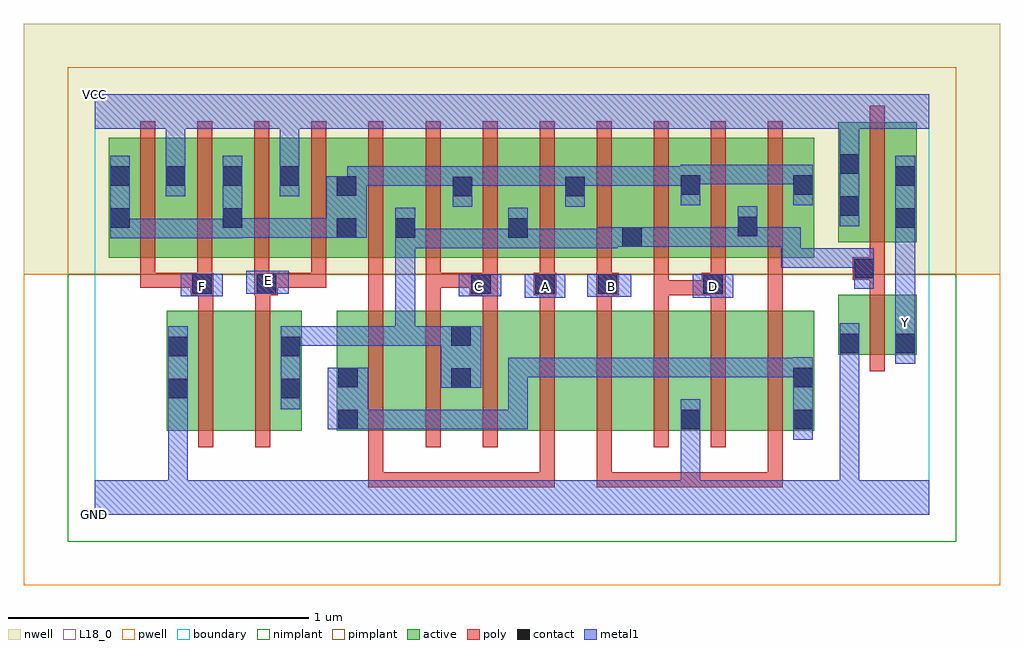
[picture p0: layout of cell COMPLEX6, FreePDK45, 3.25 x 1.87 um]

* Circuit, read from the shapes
.subckt COMPLEX6 A B C D E F GND VCC Y
M1 n1 F GND VSUBS nfet w=0.4u l=0.05u
M2 n2 E n1 VSUBS nfet w=0.4u l=0.05u
M3 n3 A n4 VSUBS nfet w=0.4u l=0.05u
M4 n2 C n3 VSUBS nfet w=0.4u l=0.05u
M5 n5 C n2 VSUBS nfet w=0.4u l=0.05u
M6 n6 A n5 VSUBS nfet w=0.4u l=0.05u
M7 n7 B n6 VSUBS nfet w=0.4u l=0.05u
M8 GND D n7 VSUBS nfet w=0.4u l=0.05u
M9 n8 D GND VSUBS nfet w=0.4u l=0.05u
M10 n4 B n8 VSUBS nfet w=0.4u l=0.05u
M11 Y n2 GND VSUBS nfet w=0.2u l=0.05u
M12 VCC F n9 n10 pfet w=0.4u l=0.05u m=2
M13 VCC E n9 n10 pfet w=0.4u l=0.05u m=2
M14 n2 A n9 n10 pfet w=0.4u l=0.05u m=2
M15 n9 C n2 n10 pfet w=0.4u l=0.05u m=2
M16 n2 B n9 n10 pfet w=0.4u l=0.05u m=2
M17 n9 D n2 n10 pfet w=0.4u l=0.05u m=2
M18 Y n2 VCC n10 pfet w=0.4u l=0.05u
.ends

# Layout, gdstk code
import gdstk
lib = gdstk.Library(unit=1e-6, precision=1e-09)
def R(c, l, rs):  # rectangles x0, y0, x1, y1
    for r in rs: c.add(gdstk.rectangle(r[:2], r[2:], *l))
def A(c, l, x, y, w, h, nx, ny, dx, dy):  # array of equal rectangles
    R(c, l, [(x+i*dx, y+j*dy, x+i*dx+w, y+j*dy+h) for i in range(nx) for j in range(ny)])
active = (1, 0)
pwell = (2, 0)
nwell = (3, 0)
nimplant = (4, 0)
pimplant = (5, 0)
poly = (9, 0)
contact = (10, 0)
metal1 = (11, 0)
L18_0 = (18, 0)
boundary = (235, 0)

complex6 = lib.new_cell('COMPLEX6')
A(complex6, active, 0.232, 0.855, 0.265, 0.4, 3, 1, 0.19, 0)
A(complex6, active, 0.802, 0.855, 0.075, 0.345, 3, 1, 0.76, 0)
R(complex6, active, [(0.24,0.28,0.465,0.68), (0.465,0.28,0.69,0.68), (0.615,0.28,0.69,0.68), (0.807,0.28,0.882,0.68), (0.807,0.28,1.032,0.68), (1.032,0.28,1.257,0.68), (1.182,0.28,1.412,0.68), (1.412,0.28,1.602,0.68), (1.602,0.28,1.792,0.68), (1.792,0.28,2.022,0.68), (1.947,0.28,2.172,0.68), (1.947,0.28,2.022,0.617), (2.172,0.28,2.397,0.68), (2.322,0.28,2.397,0.68), (1.182,0.33,1.257,0.632), (0.24,0.332,0.315,0.68), (2.477,0.532,2.552,0.732), (2.477,0.532,2.737,0.732), (2.662,0.532,2.737,0.732), (0.047,0.855,0.307,1.255), (0.047,0.855,0.122,1.2), (0.232,0.855,0.307,1.255), (0.422,0.855,0.497,1.2), (0.612,0.855,0.687,1.255), (0.802,0.855,1.072,1.255), (0.997,0.855,1.072,1.07), (0.997,0.855,1.262,1.255), (1.187,0.855,1.447,1.255), (1.372,0.855,1.447,1.07), (1.372,0.855,1.637,1.255), (1.562,0.855,1.827,1.255), (1.752,0.855,1.827,1.07), (1.752,0.855,2.022,1.255), (1.947,0.855,2.212,1.255), (2.137,0.855,2.397,1.255), (2.137,0.855,2.212,1.07), (1.187,0.907,1.262,1.2), (1.947,0.907,2.022,1.2), (2.477,0.907,2.552,1.307), (2.477,0.907,2.737,1.307), (2.662,0.907,2.737,1.2)])
R(complex6, pwell, [(-0.235,-0.235,3.015,0.8)])
R(complex6, nwell, [(-0.235,0.8,3.015,1.635)])
R(complex6, nimplant, [(-0.09,-0.09,2.87,0.8)])
R(complex6, pimplant, [(-0.09,0.8,2.87,1.49)])
A(complex6, poly, 0.912, 0.225, 0.05, 0.51, 8, 1, 0.19, 0)
A(complex6, poly, 1.292, 0.685, 0.05, 0.095, 6, 1, 0.19, 0)
A(complex6, poly, 0.152, 0.755, 0.05, 0.095, 4, 1, 0.19, 0)
A(complex6, poly, 1.102, 0.755, 0.05, 0.095, 4, 1, 0.19, 0)
A(complex6, poly, 0.152, 0.8, 0.05, 0.51, 12, 1, 0.19, 0)
R(complex6, poly, [(0.912,0.092,0.962,0.142), (0.912,0.092,0.962,0.142), (0.912,0.092,0.962,0.142), (0.912,0.092,0.962,0.275), (0.912,0.092,1.167,0.142), (1.117,0.092,1.167,0.142), (1.117,0.092,1.167,0.142), (1.117,0.092,1.167,0.142), (1.117,0.092,1.3,0.142), (1.25,0.092,1.3,0.142), (1.25,0.092,1.532,0.142), (1.482,0.092,1.532,0.142), (1.482,0.092,1.532,0.142), (1.482,0.092,1.532,0.142), (1.482,0.092,1.532,0.275), (1.672,0.092,1.722,0.142), (1.672,0.092,1.722,0.142), (1.672,0.092,1.722,0.142), (1.672,0.092,1.722,0.275), (1.672,0.092,1.855,0.142), (1.805,0.092,1.855,0.142), (1.805,0.092,2.045,0.142), (1.995,0.092,2.045,0.142), (1.995,0.092,2.045,0.142), (1.995,0.092,2.045,0.142), (1.995,0.092,2.292,0.142), (2.242,0.092,2.292,0.142), (2.242,0.092,2.292,0.142), (2.242,0.092,2.292,0.142), (2.242,0.092,2.292,0.275), (0.345,0.225,0.395,0.735), (0.535,0.225,0.585,0.735), (2.582,0.477,2.632,0.787), (0.345,0.685,0.395,0.78), (0.535,0.685,0.585,0.78), (0.912,0.685,0.962,0.78), (1.102,0.685,1.152,0.805), (0.32,0.73,0.395,0.805), (0.532,0.73,0.61,0.805), (0.912,0.73,0.962,0.85), (0.912,0.73,0.962,0.78), (1.25,0.73,1.342,0.805), (1.462,0.73,1.537,0.805), (1.67,0.73,1.745,0.805), (1.862,0.73,1.912,0.85), (1.862,0.73,1.912,0.78), (1.862,0.73,2.072,0.78), (2.022,0.73,2.072,0.78), (2.022,0.73,2.072,0.78), (2.022,0.73,2.102,0.805), (2.242,0.73,2.292,0.85), (2.242,0.73,2.292,0.78), (2.582,0.737,2.632,0.832), (0.152,0.755,0.202,0.805), (0.152,0.755,0.202,0.805), (0.152,0.755,0.202,0.805), (0.152,0.755,0.37,0.805), (0.56,0.755,0.772,0.805), (0.722,0.755,0.772,0.805), (0.722,0.755,0.772,0.805), (0.722,0.755,0.772,0.805), (1.102,0.755,1.152,0.805), (1.102,0.755,1.152,0.805), (1.102,0.755,1.152,0.805), (1.102,0.755,1.3,0.805), (2.052,0.755,2.102,0.85), (2.525,0.782,2.632,0.857), (2.582,0.807,2.632,0.902), (2.582,0.852,2.632,1.362)])
A(complex6, contact, 0.237, 1.095, 0.065, 0.065, 3, 1, 0.19, 0)
R(complex6, contact, [(0.812,0.285,0.877,0.35), (1.952,0.285,2.017,0.35), (2.327,0.285,2.392,0.35), (0.245,0.387,0.31,0.452), (0.62,0.387,0.685,0.452), (1.187,0.422,1.252,0.487), (0.812,0.425,0.877,0.49), (2.327,0.425,2.392,0.49), (0.245,0.527,0.31,0.592), (0.62,0.527,0.685,0.592), (2.482,0.537,2.547,0.602), (2.667,0.537,2.732,0.602), (1.187,0.562,1.252,0.627), (0.325,0.735,0.39,0.8), (0.54,0.735,0.605,0.8), (1.255,0.735,1.32,0.8), (1.467,0.735,1.532,0.8), (1.675,0.735,1.74,0.8), (2.027,0.735,2.092,0.8), (2.53,0.787,2.595,0.852), (1.757,0.892,1.822,0.957), (0.807,0.922,0.872,0.987), (1.002,0.922,1.067,0.987), (1.377,0.922,1.442,0.987), (2.142,0.927,2.207,0.992), (0.052,0.955,0.117,1.02), (0.427,0.955,0.492,1.02), (2.667,0.955,2.732,1.02), (2.482,0.995,2.547,1.06), (1.192,1.06,1.257,1.125), (1.567,1.06,1.632,1.125), (0.807,1.062,0.872,1.127), (1.952,1.065,2.017,1.13), (2.327,1.065,2.392,1.13), (0.052,1.095,0.117,1.16), (2.667,1.095,2.732,1.16), (2.482,1.135,2.547,1.2)])
R(complex6, metal1, [(0,0,2.78,0.115), (0.245,0.05,0.31,0.115), (0.245,0.05,0.31,0.115), (0.245,0.05,0.31,0.115), (0.245,0.05,0.31,0.115), (0.245,0.05,0.31,0.417), (1.952,0.05,2.017,0.315), (2.482,0.05,2.547,0.115), (2.482,0.05,2.547,0.115), (2.482,0.05,2.547,0.115), (2.482,0.05,2.547,0.115), (2.482,0.05,2.547,0.115), (2.482,0.05,2.547,0.115), (2.482,0.05,2.547,0.567), (1.952,0.25,2.017,0.315), (1.952,0.25,2.017,0.315), (1.952,0.25,2.017,0.315), (1.952,0.25,2.017,0.315), (1.952,0.25,2.017,0.385), (2.327,0.25,2.392,0.525), (0.777,0.285,0.912,0.49), (0.847,0.285,0.912,0.35), (0.847,0.285,0.912,0.35), (0.847,0.285,1.08,0.35), (1.015,0.285,1.08,0.35), (1.015,0.285,1.08,0.35), (1.015,0.285,1.08,0.35), (1.015,0.285,1.305,0.35), (1.24,0.285,1.305,0.35), (1.24,0.285,1.305,0.35), (1.24,0.285,1.305,0.35), (1.24,0.285,1.442,0.35), (1.377,0.285,1.442,0.35), (1.377,0.285,1.442,0.522), (0.245,0.352,0.31,0.627), (0.62,0.352,0.685,0.627), (1.152,0.422,1.287,0.627), (1.377,0.457,1.442,0.522), (1.377,0.457,1.442,0.522), (1.377,0.457,1.442,0.522), (1.377,0.457,1.65,0.522), (1.585,0.457,1.65,0.522), (1.585,0.457,1.65,0.522), (1.585,0.457,1.65,0.522), (1.585,0.457,1.88,0.522), (1.815,0.457,1.88,0.522), (1.815,0.457,1.88,0.522), (1.815,0.457,1.88,0.522), (1.815,0.457,2.07,0.522), (2.005,0.457,2.07,0.522), (2.005,0.457,2.207,0.522), (2.142,0.457,2.207,0.522), (2.142,0.457,2.207,0.522), (2.142,0.457,2.207,0.522), (2.142,0.457,2.392,0.522), (2.327,0.457,2.392,0.522), (2.327,0.457,2.392,0.522), (2.482,0.502,2.547,0.567), (2.482,0.502,2.547,0.567), (2.482,0.502,2.547,0.637), (2.667,0.502,2.732,0.637), (0.62,0.562,0.685,0.627), (0.62,0.562,0.685,0.627), (0.62,0.562,0.822,0.627), (0.757,0.562,0.822,0.627), (0.757,0.562,0.822,0.627), (0.757,0.562,0.822,0.627), (0.757,0.562,1.067,0.627), (1.002,0.562,1.067,0.627), (1.002,0.562,1.067,0.627), (1.002,0.562,1.067,0.627), (1.002,0.562,1.067,0.627), (1.002,0.562,1.067,0.627), (1.002,0.562,1.217,0.627), (1.002,0.562,1.067,0.952), (2.667,0.572,2.732,0.637), (2.667,0.572,2.732,0.707), (2.667,0.642,2.732,0.985), (1.432,0.722,1.567,0.8), (1.992,0.722,2.127,0.8), (1.64,0.725,1.787,0.8), (0.287,0.727,0.427,0.802), (1.212,0.727,1.355,0.8), (0.505,0.735,0.647,0.812), (2.53,0.752,2.595,0.887), (2.287,0.822,2.352,0.887), (2.287,0.822,2.352,0.887), (2.287,0.822,2.352,0.957), (2.287,0.822,2.595,0.887), (2.53,0.822,2.595,0.887), (2.53,0.822,2.595,0.887), (2.53,0.822,2.595,0.887), (2.53,0.822,2.595,0.887), (1.002,0.887,1.067,0.952), (1.002,0.887,1.067,0.952), (1.002,0.887,1.067,1.022), (1.002,0.887,1.305,0.952), (1.24,0.887,1.305,0.952), (1.24,0.887,1.305,0.952), (1.24,0.887,1.305,0.952), (1.24,0.887,1.442,0.952), (1.377,0.887,1.442,0.952), (1.377,0.887,1.442,0.952), (1.377,0.887,1.442,1.022), (1.377,0.887,1.58,0.952), (1.515,0.887,1.58,0.952), (1.515,0.887,1.742,0.952), (1.677,0.887,1.742,0.957), (1.677,0.892,1.787,0.957), (1.722,0.892,1.857,0.957), (1.792,0.892,1.88,0.957), (1.815,0.892,1.88,0.957), (1.815,0.892,2.07,0.957), (2.005,0.892,2.07,0.957), (2.005,0.892,2.07,0.957), (2.005,0.892,2.07,0.957), (2.005,0.892,2.207,0.957), (2.142,0.892,2.207,1.027), (2.142,0.892,2.352,0.957), (0.052,0.92,0.117,1.195), (0.052,0.92,0.117,0.985), (0.052,0.92,0.117,0.985), (0.052,0.92,0.355,0.985), (0.29,0.92,0.355,0.985), (0.29,0.92,0.355,0.985), (0.29,0.92,0.355,0.985), (0.29,0.92,0.492,0.985), (0.427,0.92,0.492,1.195), (2.667,0.92,2.732,1.195), (0.427,0.922,0.492,0.987), (0.427,0.922,0.492,0.987), (0.427,0.922,0.63,0.987), (0.565,0.922,0.63,0.987), (0.565,0.922,0.63,0.987), (0.565,0.922,0.63,0.987), (0.565,0.922,0.837,0.987), (0.772,0.922,0.907,1.127), (2.482,0.96,2.547,1.235), (1.192,1.025,1.257,1.16), (1.567,1.025,1.632,1.16), (1.952,1.03,2.017,1.165), (2.327,1.03,2.392,1.165), (0.237,1.06,0.302,1.195), (0.617,1.06,0.682,1.195), (0.842,1.062,0.907,1.16), (0.842,1.095,0.907,1.16), (0.842,1.095,0.907,1.16), (0.842,1.095,0.907,1.16), (0.842,1.095,1.05,1.16), (0.985,1.095,1.05,1.16), (0.985,1.095,1.05,1.16), (0.985,1.095,1.05,1.16), (0.985,1.095,1.257,1.16), (1.192,1.095,1.257,1.16), (1.192,1.095,1.257,1.16), (1.192,1.095,1.442,1.16), (1.377,1.095,1.442,1.16), (1.377,1.095,1.442,1.16), (1.377,1.095,1.442,1.16), (1.377,1.095,1.632,1.16), (1.567,1.095,1.632,1.16), (1.567,1.095,1.632,1.16), (1.567,1.095,1.88,1.16), (1.815,1.095,1.88,1.16), (1.815,1.095,1.88,1.16), (1.815,1.095,1.88,1.16), (1.815,1.095,2.017,1.16), (1.952,1.1,2.017,1.165), (1.952,1.1,2.017,1.165), (1.952,1.1,2.207,1.165), (2.142,1.1,2.207,1.165), (2.142,1.1,2.392,1.165), (2.327,1.1,2.392,1.165), (2.327,1.1,2.392,1.165), (0.237,1.13,0.302,1.35), (0.617,1.13,0.682,1.35), (2.482,1.17,2.547,1.35), (0,1.285,2.78,1.4)])
A(complex6, L18_0, 1.247, 0.727, 0.065, 0.065, 3, 1, 0.22, 0)
R(complex6, L18_0, [(0,0,2.78,0.115), (0.245,0.05,0.31,0.115), (0.245,0.05,0.31,0.115), (0.245,0.05,0.31,0.115), (0.245,0.05,0.31,0.115), (0.245,0.05,0.31,0.417), (1.952,0.05,2.017,0.315), (2.482,0.05,2.547,0.115), (2.482,0.05,2.547,0.115), (2.482,0.05,2.547,0.115), (2.482,0.05,2.547,0.115), (2.482,0.05,2.547,0.115), (2.482,0.05,2.547,0.115), (2.482,0.05,2.547,0.567), (1.952,0.25,2.017,0.315), (1.952,0.25,2.017,0.315), (1.952,0.25,2.017,0.315), (1.952,0.25,2.017,0.315), (1.952,0.25,2.017,0.385), (0.245,0.352,0.31,0.627), (2.482,0.502,2.547,0.567), (2.482,0.502,2.547,0.567), (2.482,0.502,2.547,0.637), (2.667,0.502,2.732,0.637), (2.667,0.572,2.732,0.637), (2.667,0.572,2.732,0.707), (2.667,0.607,2.732,0.672), (2.667,0.642,2.732,0.985), (1.432,0.722,1.567,0.8), (1.992,0.722,2.127,0.8), (1.64,0.725,1.787,0.8), (0.287,0.727,0.427,0.802), (0.327,0.727,0.392,0.792), (1.212,0.727,1.355,0.8), (2.027,0.727,2.092,0.792), (0.505,0.735,0.647,0.812), (0.547,0.747,0.612,0.812), (2.667,0.92,2.732,1.195), (2.482,0.96,2.547,1.235), (0.237,1.06,0.302,1.195), (0.617,1.06,0.682,1.195), (0.237,1.13,0.302,1.35), (0.617,1.13,0.682,1.35), (2.482,1.17,2.547,1.35), (0,1.285,2.78,1.4)])
R(complex6, boundary, [(0,0,2.78,1.4)])
complex6.add(gdstk.Label('A', (1.5,0.76), layer=11, texttype=0))
complex6.add(gdstk.Label('B', (1.72,0.76), layer=11, texttype=0))
complex6.add(gdstk.Label('C', (1.28,0.76), layer=11, texttype=0))
complex6.add(gdstk.Label('D', (2.06,0.76), layer=11, texttype=0))
complex6.add(gdstk.Label('E', (0.58,0.78), layer=11, texttype=0))
complex6.add(gdstk.Label('F', (0.36,0.76), layer=11, texttype=0))
complex6.add(gdstk.Label('Y', (2.7,0.64), layer=11, texttype=0))
complex6.add(gdstk.Label('VCC', (0,1.4), layer=11, texttype=0))
complex6.add(gdstk.Label('GND', (0,0), layer=11, texttype=0))

lib.write_gds('COMPLEX6.gds')
